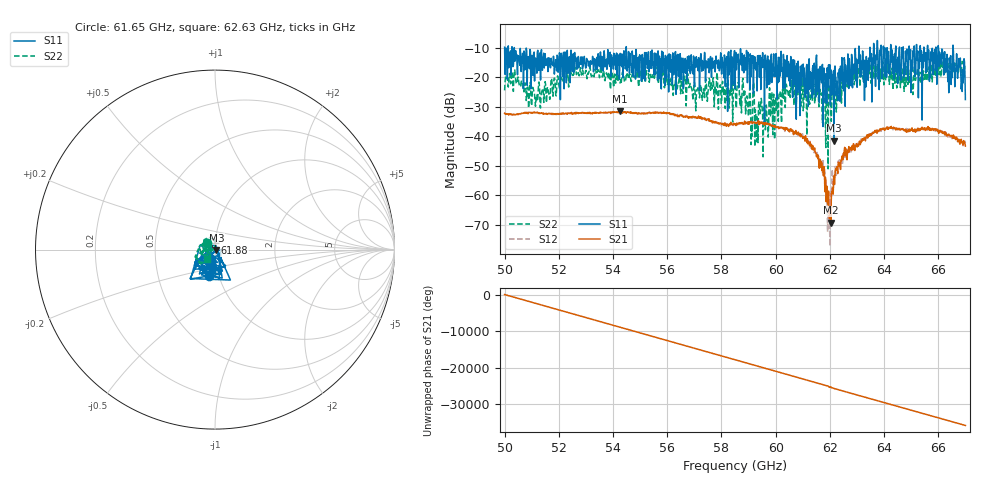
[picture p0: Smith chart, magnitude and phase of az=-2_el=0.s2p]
!Created with skrf (http://scikit-rf.org).
# GHz S RI R 50.0
!freq ReS11 ImS11 ReS21 ImS21 ReS12 ImS12 ReS22 ImS22
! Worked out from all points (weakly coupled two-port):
!   1001 points, 50 GHz to 67 GHz, reference 50 ohm
!   highest |S21| = -31.56 dB at 54.27 GHz (marker M1); lowest = -69.3 dB at 62.04 GHz (marker M2)
!   lowest |S11| = -41.5 dB at 62.16 GHz (marker M3), VSWR 1.02, Z = 50.8 - j0.362 ohm
!   |S11| at or under -10 dB: 50.27 GHz to 54.49 GHz (4.214 GHz wide, 8.05 % of centre); 54.49 GHz to 63.07 GHz (8.582 GHz wide, 14.6 % of centre); 66.01 GHz to 66.54 GHz (533.5 MHz wide, 0.805 % of centre) (the widest 3 of 23)
!   |S22| runs from -51.0 to -14.0 dB; largest |S21 - S12| = 0.0019
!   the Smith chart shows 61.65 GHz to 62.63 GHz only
!   S11 on the Smith chart (normalised r, x): 61.65 GHz: 0.90, -0.27; 61.88 GHz: 1.00, +0.07; 62.63 GHz: 0.95, -0.21
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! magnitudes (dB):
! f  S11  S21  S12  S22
! 50 GHz  -9.9  -32.2  -32.3  -24.5
! 50.42 GHz  -13.5  -32.7  -32.6  -21.9
! 51.16 GHz  -13.8  -32.0  -31.9  -28.1
! 52.84 GHz  -14.1  -32.1  -32.2  -19.3
! 54.27 GHz  -12.0  -31.6  -31.6  -21.9
! 55.68 GHz  -13.4  -32.0  -32.0  -22.3
! 58.5 GHz  -23.9  -36.0  -35.9  -23.6
! 58.86 GHz  -17.8  -34.9  -35.1  -24.7
! 59.32 GHz  -24.7  -35.5  -35.3  -33.5
! 60.64 GHz  -14.1  -38.8  -38.2  -22.6
! 61.34 GHz  -27.0  -44.4  -43.0  -25.6
! 61.65 GHz  -16.4  -49.7  -50.1  -24.8
! 61.88 GHz  -28.9  -58.2  -58.6  -23.1
! 61.95 GHz  -15.9  -58.6  -58.1  -26.3
! 62.04 GHz  -18.3  -69.3  -58.7  -29.9
! 62.16 GHz  -41.5  -53.4  -54.4  -27.9
! 62.63 GHz  -19.0  -48.0  -45.2  -23.0
! 64.18 GHz  -18.8  -37.1  -36.9  -18.8
! 66.08 GHz  -15.3  -38.3  -38.8  -15.5
! 66.42 GHz  -15.1  -39.9  -40.2  -16.4
! 66.75 GHz  -17.3  -41.3  -41.3  -18.2
! 67 GHz  -27.6  -43.3  -42.2  -15.6
